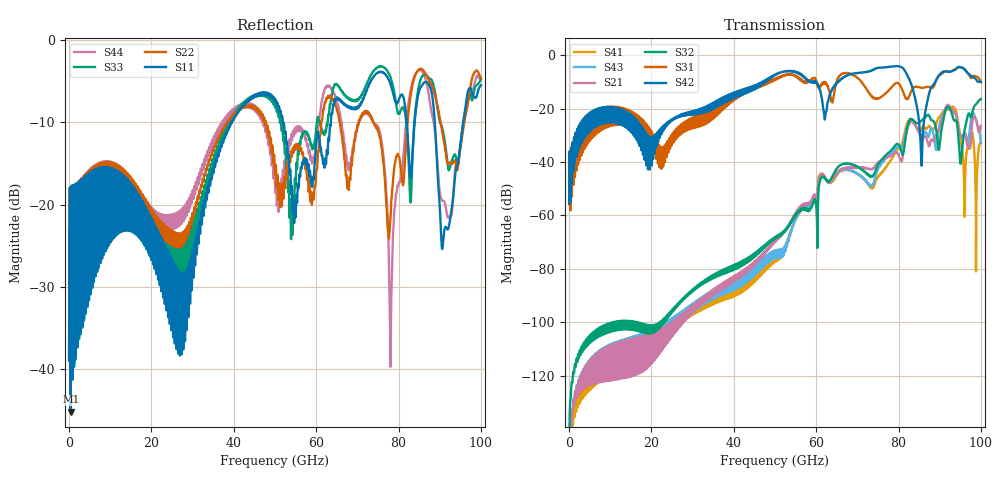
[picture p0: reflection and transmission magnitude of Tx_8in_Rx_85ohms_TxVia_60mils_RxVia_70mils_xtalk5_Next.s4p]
! Info: Touchstone file created by Circ.  Input file=Tx_8in_Rx_85ohms_TxVia_60mils_RxVia_70mils.circ
# Hz S RI R 50
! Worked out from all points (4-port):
!   10000 points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, 10 MHz to 100 GHz, reference 50 ohm
!   strongest paths, dB at 10 MHz, 25.01 GHz, 50.01 GHz, 75.01 GHz, 100 GHz:
!     S42: -55.7, -24.1, -7.2, -4.7, -10.0
!     S31: -55.7, -31.5, -8.8, -16.3, -10.1
!     S32: -156.6, -95.5, -68.1, -41.2, -16.4
!     S21: -167.3, -100.0, -69.4, -40.2, -26.5
!     S43: -158.0, -98.8, -73.2, -42.8, -32.7
!     S41: -158.3, -99.7, -75.2, -45.7, -32.9
!   lowest |S11| = -45.3 dB at 400 MHz (marker M1), VSWR 1.01, Z = 49.5 + j0.0166 ohm
!   |S11| at or under -10 dB: start of sweep to 39.53 GHz; 51.91 GHz to 63.58 GHz (11.67 GHz wide, 20.2 % of centre); 88.81 GHz to 95.73 GHz (6.922 GHz wide, 7.5 % of centre) (the widest 3 of 4)
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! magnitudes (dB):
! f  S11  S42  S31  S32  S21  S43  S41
! 10 MHz  -39.0  -55.7  -55.7  -156.6  -167.3  -158.0  -158.3
! 400 MHz  -45.3  -39.7  -39.7  -128.2  -138.8  -138.8  -142.4
! 40.78 GHz  -9.0  -13.6  -13.7  -79.9  -84.2  -87.1  -89.5
! 72.8 GHz  -5.4  -6.1  -14.0  -45.2  -42.6  -48.5  -48.8
! 78.07 GHz  -5.3  -4.3  -12.4  -35.9  -37.8  -37.1  -39.5
! 85.57 GHz  -5.6  -41.2  -12.2  -24.4  -31.2  -30.1  -27.8
! 100 GHz  -5.5  -10.0  -10.1  -16.4  -26.5  -32.7  -32.9
